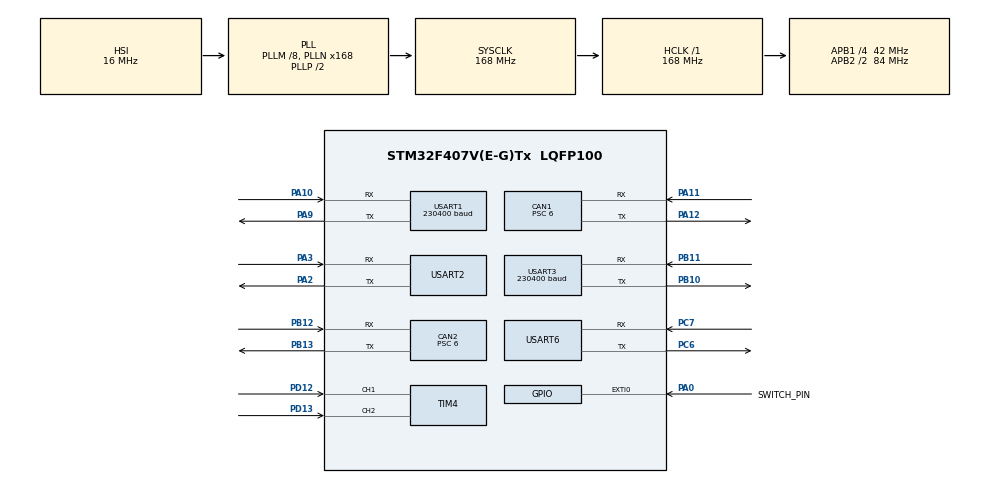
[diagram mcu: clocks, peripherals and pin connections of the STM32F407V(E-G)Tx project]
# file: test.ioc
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CAN1.BS1=CAN_BS1_4TQ
CAN1.BS2=CAN_BS2_2TQ
CAN1.CalculateBaudRate=1000000
CAN1.CalculateTimeBit=1000
CAN1.CalculateTimeQuantum=142.85714285714286
CAN1.Prescaler=6
CAN2.BS1=CAN_BS1_4TQ
CAN2.BS2=CAN_BS2_2TQ
CAN2.CalculateBaudRate=1000000
CAN2.CalculateTimeBit=1000
CAN2.CalculateTimeQuantum=142.85714285714286
CAN2.Prescaler=6
FREERTOS.Tasks01=defaultTask,24,128,StartDefaultTask,Default,NULL,Dynamic,NULL,NULL
Mcu.Family=STM32F4
Mcu.Name=STM32F407V(E-G)Tx
Mcu.Package=LQFP100
NVIC.CAN1_RX0_IRQn=true\:5\:0\:true\:false\:true\:true\:true\:true\:true
NVIC.CAN2_RX1_IRQn=true\:5\:0\:true\:false\:true\:true\:true\:true\:true
NVIC.EXTI0_IRQn=true\:5\:0\:false\:false\:true\:true\:true\:true\:true
NVIC.PriorityGroup=NVIC_PRIORITYGROUP_4
NVIC.TIM1_UP_TIM10_IRQn=true\:15\:0\:false\:false\:true\:false\:false\:true\:true
NVIC.TIM8_BRK_TIM12_IRQn=true\:5\:0\:true\:false\:true\:true\:true\:true\:true
NVIC.TIM8_CC_IRQn=true\:5\:0\:true\:false\:true\:true\:true\:true\:true
NVIC.TIM8_TRG_COM_TIM14_IRQn=true\:5\:0\:true\:false\:true\:true\:true\:true\:true
NVIC.TIM8_UP_TIM13_IRQn=true\:5\:0\:true\:false\:true\:true\:true\:true\:true
NVIC.TimeBase=TIM1_UP_TIM10_IRQn
NVIC.TimeBaseIP=TIM1
NVIC.USART1_IRQn=true\:5\:0\:true\:false\:true\:true\:true\:true\:true
NVIC.USART2_IRQn=true\:5\:0\:true\:false\:true\:true\:true\:true\:true
NVIC.USART3_IRQn=true\:5\:0\:true\:false\:true\:true\:true\:true\:true
NVIC.USART6_IRQn=true\:5\:0\:false\:false\:true\:true\:true\:true\:true
PA0-WKUP.GPIO_Label=SWITCH_PIN
PA0-WKUP.GPIO_ModeDefaultEXTI=GPIO_MODE_IT_RISING
PA0-WKUP.GPIO_PuPd=GPIO_PULLDOWN
PA0-WKUP.Signal=GPXTI0
PA10.GPIO_PuPd=GPIO_PULLUP
PA10.Mode=Asynchronous
PA10.Signal=USART1_RX
PA11.Mode=CAN_Activate
PA11.Signal=CAN1_RX
PA12.Mode=CAN_Activate
PA12.Signal=CAN1_TX
PA13.Mode=Serial_Wire
PA13.Signal=SYS_JTMS-SWDIO
PA14.Mode=Serial_Wire
PA14.Signal=SYS_JTCK-SWCLK
PA2.Mode=Asynchronous
PA2.Signal=USART2_TX
PA3.GPIO_PuPd=GPIO_PULLUP
PA3.Mode=Asynchronous
PA3.Signal=USART2_RX
PA9.Mode=Asynchronous
PA9.Signal=USART1_TX
PB10.Mode=Asynchronous
PB10.Signal=USART3_TX
PB11.GPIO_PuPd=GPIO_PULLUP
PB11.Mode=Asynchronous
PB11.Signal=USART3_RX
PB12.Mode=CAN_Activate
PB12.Signal=CAN2_RX
PB13.Mode=CAN_Activate
PB13.Signal=CAN2_TX
PC6.Mode=Asynchronous
PC6.Signal=USART6_TX
PC7.Mode=Asynchronous
PC7.Signal=USART6_RX
PD12.Signal=S_TIM4_CH1
PD13.Signal=S_TIM4_CH2
PH0-OSC_IN.Mode=HSE-External-Oscillator
PH0-OSC_IN.Signal=RCC_OSC_IN
PH1-OSC_OUT.Mode=HSE-External-Oscillator
PH1-OSC_OUT.Signal=RCC_OSC_OUT
ProjectManager.HeapSize=0x200
ProjectManager.StackSize=0x400
ProjectManager.TargetToolchain=Makefile
RCC.48MHZClocksFreq_Value=84000000
RCC.AHBFreq_Value=168000000
RCC.APB1CLKDivider=RCC_HCLK_DIV4
RCC.APB1Freq_Value=42000000
RCC.APB1TimFreq_Value=84000000
RCC.APB2CLKDivider=RCC_HCLK_DIV2
RCC.APB2Freq_Value=84000000
RCC.APB2TimFreq_Value=168000000
RCC.CortexFreq_Value=168000000
RCC.HCLKFreq_Value=168000000
RCC.HSE_VALUE=25000000
RCC.HSI_VALUE=16000000
RCC.LSE_VALUE=32768
RCC.PLLM=8
RCC.PLLN=168
RCC.SYSCLKFreq_VALUE=168000000
RCC.SYSCLKSource=RCC_SYSCLKSOURCE_PLLCLK
RCC.VCOOutputFreq_Value=336000000
SH.S_TIM4_CH1.0=TIM4_CH1,Encoder_Interface
SH.S_TIM4_CH2.0=TIM4_CH2,Encoder_Interface
TIM12.Period=5000-1
TIM12.Prescaler=168-1
TIM2.Period=2000-1
TIM2.Prescaler=168-1
TIM8.Period=5000-1
TIM8.Prescaler=168-1
USART1.BaudRate=230400
USART1.VirtualMode=VM_ASYNC
USART2.VirtualMode=VM_ASYNC
USART3.BaudRate=230400
USART3.VirtualMode=VM_ASYNC
USART6.VirtualMode=VM_ASYNC
VP_FREERTOS_VS_CMSIS_V2.Mode=CMSIS_V2
VP_SYS_VS_tim1.Mode=TIM1
VP_TIM12_VS_ClockSourceINT.Mode=Internal
VP_TIM2_VS_ClockSourceINT.Mode=Internal
VP_TIM8_VS_ClockSourceINT.Mode=Internal
board=custom

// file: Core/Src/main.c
/* USER CODE BEGIN Header */
/**
  ******************************************************************************
  * @file           : main.c
  * @brief          : Main program body
  ******************************************************************************
  * @attention
  *
  * Copyright (c) 2026 STMicroelectronics.
  * All rights reserved.
  *
  * This software is licensed under terms that can be found in the LICENSE file
  * in the root directory of this software component.
  * If no LICENSE file comes with this software, it is provided AS-IS.
  *
  ******************************************************************************
  */
/* USER CODE END Header */
#include "main.h"
#include "cmsis_os.h"
#include "can.h"
#include "tim.h"
#include "usart.h"
#include "gpio.h"

/* USER CODE BEGIN Includes */
#include "chassis.h"
#include "wtr_can.h"
#include "beam.h"
#include <stdio.h>
#include "updown.h"
#include "Action.h"
/* USER CODE END Includes */

/* USER CODE BEGIN PD */
uint8_t rxbuffer[8];
/* USER CODE END PD */

void SystemClock_Config(void);
void MX_FREERTOS_Init(void);

int main(void)
{

  /* MCU Configuration--------------------------------------------------------*/

  /* Reset of all peripherals, Initializes the Flash interface and the Systick. */
  HAL_Init();

  /* Configure the system clock */
  SystemClock_Config();

  /* Initialize all configured peripherals */
  MX_GPIO_Init();
  MX_USART1_UART_Init();
  MX_USART3_UART_Init();
  MX_TIM8_Init();
  MX_TIM12_Init();
  MX_USART2_UART_Init();
  MX_TIM2_Init();
  MX_TIM4_Init();
  MX_CAN1_Init();
  MX_CAN2_Init();
  MX_USART6_UART_Init();
  /* USER CODE BEGIN 2 */
  HAL_TIM_Base_Start_IT(&htim8);  // ����ʱ��
  HAL_TIM_Base_Start_IT(&htim12); // ����ʱ��
  //����can������
  CANFilterInit(&hcan1);
 // CANFilterInit(&hcan2);
  for(int i = 0; i < 8;i++)
  {
    hDJI[i].motorType = M3508;
  }
  DJI_Init();

  StateMachine_Init();
  Action_ButtonInit();

  HAL_Delay(3000); //�ȴ���ģ���ʼ��?
  /* USER CODE END 2 */

  /* Init scheduler */
  osKernelInitialize();  /* Call init function for freertos objects (in freertos.c) */
  MX_FREERTOS_Init();

  /* Start scheduler */
  osKernelStart();

  /* We should never get here as control is now taken by the scheduler */
  /* Infinite loop */
  while (1)
  {

  }
}

void SystemClock_Config(void)
{
  RCC_OscInitTypeDef RCC_OscInitStruct = {0};
  RCC_ClkInitTypeDef RCC_ClkInitStruct = {0};

  /** Configure the main internal regulator output voltage
  */
  __HAL_RCC_PWR_CLK_ENABLE();
  __HAL_PWR_VOLTAGESCALING_CONFIG(PWR_REGULATOR_VOLTAGE_SCALE1);

  /** Initializes the RCC Oscillators according to the specified parameters
  * in the RCC_OscInitTypeDef structure.
  */
  RCC_OscInitStruct.OscillatorType = RCC_OSCILLATORTYPE_HSI;
  RCC_OscInitStruct.HSIState = RCC_HSI_ON;
  RCC_OscInitStruct.HSICalibrationValue = RCC_HSICALIBRATION_DEFAULT;
  RCC_OscInitStruct.PLL.PLLState = RCC_PLL_ON;
  RCC_OscInitStruct.PLL.PLLSource = RCC_PLLSOURCE_HSI;
  RCC_OscInitStruct.PLL.PLLM = 8;
  RCC_OscInitStruct.PLL.PLLN = 168;
  RCC_OscInitStruct.PLL.PLLP = RCC_PLLP_DIV2;
  RCC_OscInitStruct.PLL.PLLQ = 4;
  if (HAL_RCC_OscConfig(&RCC_OscInitStruct) != HAL_OK)
  {
    Error_Handler();
  }

  /** Initializes the CPU, AHB and APB buses clocks
  */
  RCC_ClkInitStruct.ClockType = RCC_CLOCKTYPE_HCLK|RCC_CLOCKTYPE_SYSCLK
                              |RCC_CLOCKTYPE_PCLK1|RCC_CLOCKTYPE_PCLK2;
  RCC_ClkInitStruct.SYSCLKSource = RCC_SYSCLKSOURCE_PLLCLK;
  RCC_ClkInitStruct.AHBCLKDivider = RCC_SYSCLK_DIV1;
  RCC_ClkInitStruct.APB1CLKDivider = RCC_HCLK_DIV4;
  RCC_ClkInitStruct.APB2CLKDivider = RCC_HCLK_DIV2;

  if (HAL_RCC_ClockConfig(&RCC_ClkInitStruct, FLASH_LATENCY_5) != HAL_OK)
  {
    Error_Handler();
  }
}

void HAL_TIM_PeriodElapsedCallback(TIM_HandleTypeDef *htim)
{
  if (htim->Instance == TIM1) {
    HAL_IncTick();
  }
}

void Error_Handler(void)
{
  __disable_irq();
  while (1)
  {
  }
}

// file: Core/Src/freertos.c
/* USER CODE BEGIN Header */
/**
  ******************************************************************************
  * File Name          : freertos.c
  * Description        : Code for freertos applications
  ******************************************************************************
  * @attention
  *
  * Copyright (c) 2026 STMicroelectronics.
  * All rights reserved.
  *
  * This software is licensed under terms that can be found in the LICENSE file
  * in the root directory of this software component.
  * If no LICENSE file comes with this software, it is provided AS-IS.
  *
  ******************************************************************************
  */
/* USER CODE END Header */

#include "FreeRTOS.h"
#include "task.h"
#include "main.h"
#include "cmsis_os.h"

/* USER CODE BEGIN Includes */
#include "Thread_Start.h"
#include "chassis.h"
#include "Thread_FT.h"
#include "SCS.h"
#include "updown.h"
#include "beam.h"
#include "Thread_DJI.h"
/* USER CODE END Includes */

/* USER CODE BEGIN PTD */
uint8_t command[] = { 0xFF, 0xFF, 0x01, 0x09, 0x03, 0x2A, 0x00, 0x08, 0x00, 0x00, 0xE8, 0x03, 0xD5 };
/* USER CODE END PTD */

/* Definitions for defaultTask */
osThreadId_t defaultTaskHandle;
const osThreadAttr_t defaultTask_attributes = {
  .name = "defaultTask",
  .stack_size = 128 * 10,
  .priority = (osPriority_t) osPriorityNormal,
};

void StartDefaultTask(void *argument);

void MX_FREERTOS_Init(void); /* (MISRA C 2004 rule 8.1) */

void MX_FREERTOS_Init(void) {

  /* Create the thread(s) */
  /* creation of defaultTask */
  defaultTaskHandle = osThreadNew(StartDefaultTask, NULL, &defaultTask_attributes);

}

void StartDefaultTask(void *argument)
{
  /* USER CODE BEGIN StartDefaultTask */
  // 等待按键
  button_pressed = 0;
  while (!button_pressed) {
      osDelay(50);
  }
  Pi_SendString("START\n");
  Usart_Start();
  DJI_Start();
  FT_Start();
  SM_Start();
  osDelay(200);
  SM_StartMission(&mission);

  /* Infinite loop */
  for(;;)
  {
    osDelay(1000);
  }
  /* USER CODE END StartDefaultTask */
}
